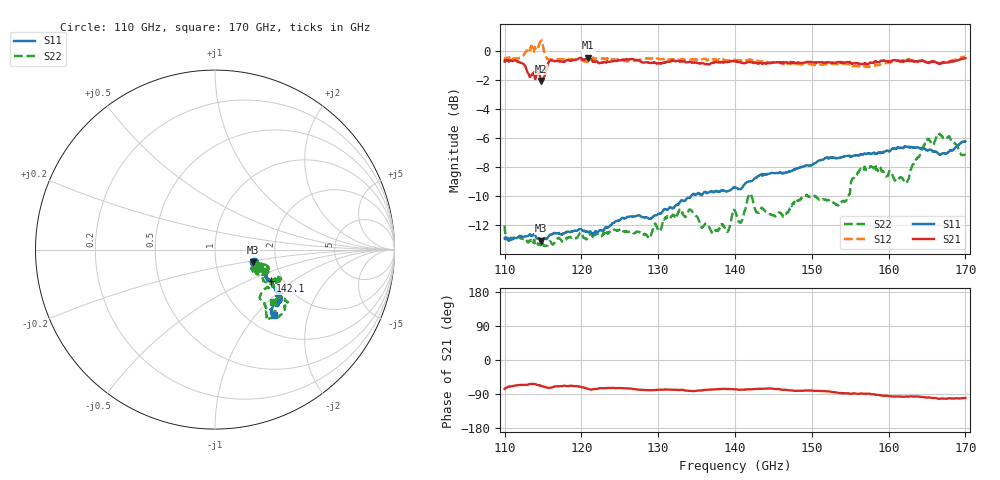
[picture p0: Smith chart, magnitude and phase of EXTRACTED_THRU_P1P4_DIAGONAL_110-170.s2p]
! Generated by Phase I extraction
# Hz S RI R 50
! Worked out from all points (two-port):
!   1471 points, 110 GHz to 170 GHz, reference 50 ohm
!   highest |S21| = -0.45 dB at 120.9 GHz (marker M1); lowest = -2.0 dB at 114.7 GHz (marker M2)
!   |S21| within 3 dB of the highest: start of sweep to end of sweep
!   lowest |S11| = -13.0 dB at 114.7 GHz (marker M3), VSWR 1.57, Z = 75.7 - j11.4 ohm
!   |S11| at or under -10 dB: start of sweep to 134.3 GHz
!   |S22| runs from -13.4 to -5.7 dB; largest |S21 - S12| = 0.41
!   S11 on the Smith chart (normalised r, x): 110 GHz: 1.53, -0.22; 142.1 GHz: 1.72, -0.70; 170 GHz: 1.30, -1.24
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1.1e11  0.2163 -0.0685  0.2178 -0.8956  0.5061 -0.7866  0.2335 -0.0926
1.119592e11  0.2237 -0.0593  0.3753 -0.8369  0.4033 -0.8579  0.2216 -0.0629
1.133061e11  0.2259 -0.0637  0.3615 -0.7301  0.3981 -0.9131  0.2154 -0.0589
1.147347e11  0.211 -0.0717  0.2928 -0.7336  0.4368 -0.9922  0.2035 -0.0702
1.156327e11  0.2137 -0.0808  0.257 -0.8656  0.3977 -0.8487  0.202 -0.0752
1.178367e11  0.2223 -0.0817  0.3487 -0.8549  0.3119 -0.8844  0.2089 -0.0796
1.2e11  0.2274 -0.0881  0.3018 -0.8973  0.3223 -0.8757  0.2181 -0.0942
1.208571e11  0.2224 -0.0886  0.2281 -0.9217  0.353 -0.8511  0.211 -0.0986
1.3e11  0.255 -0.1037  0.182 -0.8887  0.233 -0.9123  0.2155 -0.1089
1.346122e11  0.2878 -0.1467  0.1244 -0.9056  0.2215 -0.9119  0.2615 -0.0864
1.371429e11  0.2863 -0.1583  0.1924 -0.8924  0.1534 -0.9217  0.2225 -0.0836
1.4e11  0.2955 -0.1666  0.2039 -0.8985  0.1211 -0.9245  0.2592 -0.1104
1.421224e11  0.3098 -0.177  0.1995 -0.8924  0.1045 -0.9269  0.3004 -0.1072
1.451429e11  0.3218 -0.2021  0.2145 -0.8892  0.084 -0.9101  0.2575 -0.0866
1.5e11  0.3375 -0.2249  0.1509 -0.9037  0.0839 -0.8961  0.2951 -0.1105
1.534286e11  0.3435 -0.2565  0.0554 -0.9152  0.1448 -0.8924  0.266 -0.1258
1.562449e11  0.368 -0.24  0.0181 -0.9046  0.171 -0.871  0.3337 -0.2023
1.6e11  0.3445 -0.2928  -0.0804 -0.9168  0.2122 -0.8865  0.3434 -0.165
1.623673e11  0.3472 -0.3143  -0.1063 -0.923  0.211 -0.9112  0.2599 -0.2411
1.648163e11  0.3652 -0.2777  -0.1421 -0.9079  0.2124 -0.8922  0.3037 -0.3834
1.679184e11  0.3203 -0.3193  -0.1731 -0.8995  0.1959 -0.9015  0.4102 -0.3004
1.7e11  0.3265 -0.3646  -0.1651 -0.9305  0.1847 -0.9384  0.3234 -0.2941
